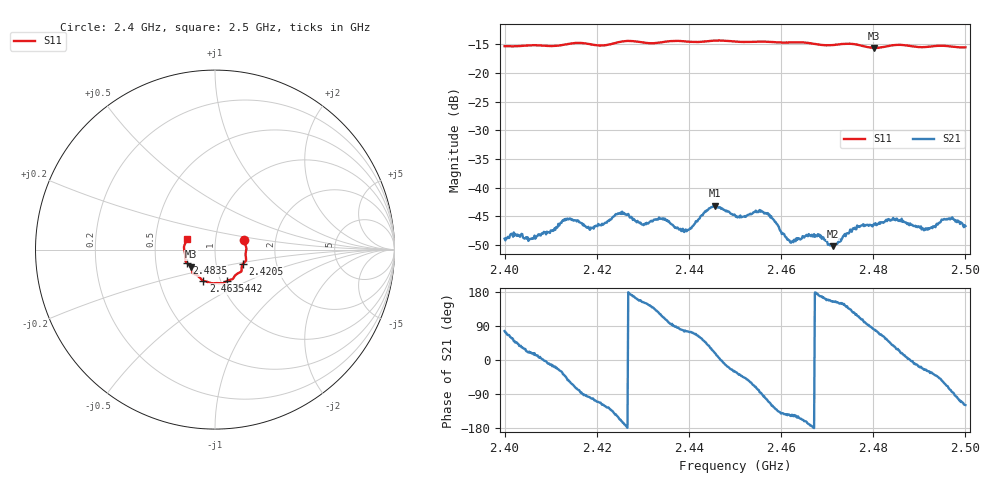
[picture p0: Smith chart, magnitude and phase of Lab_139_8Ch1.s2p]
# Hz S RI R 50
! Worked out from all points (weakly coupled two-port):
!   601 points, 2.4 GHz to 2.5 GHz, reference 50 ohm
!   highest |S21| = -43.14 dB at 2.4457 GHz (marker M1); lowest = -50.2 dB at 2.4713 GHz (marker M2)
!   lowest |S11| = -15.6 dB at 2.4802 GHz (marker M3), VSWR 1.40, Z = 37.4 - j7.32 ohm
!   |S11| at or under -10 dB: start of sweep to end of sweep
!   S12 and S22 are empty: the file has one direction only
!   S11 on the Smith chart (normalised r, x): 2.4 GHz: 1.38, +0.15; 2.4205 GHz: 1.35, -0.22; 2.442 GHz: 1.08, -0.39; 2.4635 GHz: 0.83, -0.30; 2.4835 GHz: 0.72, -0.11; 2.5 GHz: 0.72, +0.09
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2.4e9  0.1638 0.0519  0.000848 0.00349  0 0  0 0
2.405667e9  0.1744 0.0115  0.00336 0.00125  0 0  0 0
2.4135e9  0.1725 -0.0461  0.0035 -0.00396  0 0  0 0
2.416667e9  0.1722 -0.0623  0.000367 -0.00489  0 0  0 0
2.4205e9  0.155 -0.0796  -0.00177 -0.0044  0 0  0 0
2.425e9  0.1489 -0.1134  -0.00546 -0.00232  0 0  0 0
2.430167e9  0.1303 -0.1308  -0.00416 0.00222  0 0  0 0
2.433333e9  0.1091 -0.1478  -0.00313 0.00426  0 0  0 0
2.439333e9  0.0878 -0.1672  0.00104 0.00419  0 0  0 0
2.442e9  0.0693 -0.1735  0.00231 0.00473  0 0  0 0
2.445667e9  0.0485 -0.1858  0.00663 0.00214  0 0  0 0
2.45e9  0.0265 -0.1867  0.00495 -0.00298  0 0  0 0
2.455667e9  -0.0133 -0.188  0.000352 -0.0063  0 0  0 0
2.461833e9  -0.056 -0.1767  -0.00283 -0.00199  0 0  0 0
2.4635e9  -0.0657 -0.1739  -0.0031 -0.00165  0 0  0 0
2.466667e9  -0.0776 -0.1642  -0.00387 -0.000365  0 0  0 0
2.471333e9  -0.1067 -0.1399  -0.00279 0.00132  0 0  0 0
2.480167e9  -0.1359 -0.0951  0.000789 0.00478  0 0  0 0
2.483333e9  -0.1555 -0.0749  0.00351 0.00401  0 0  0 0
2.4835e9  -0.1565 -0.0743  0.00354 0.00391  0 0  0 0
2.491e9  -0.1677 -0.0185  0.00384 -0.00183  0 0  0 0
2.5e9  -0.1569 0.0593  -0.00224 -0.00405  0 0  0 0
